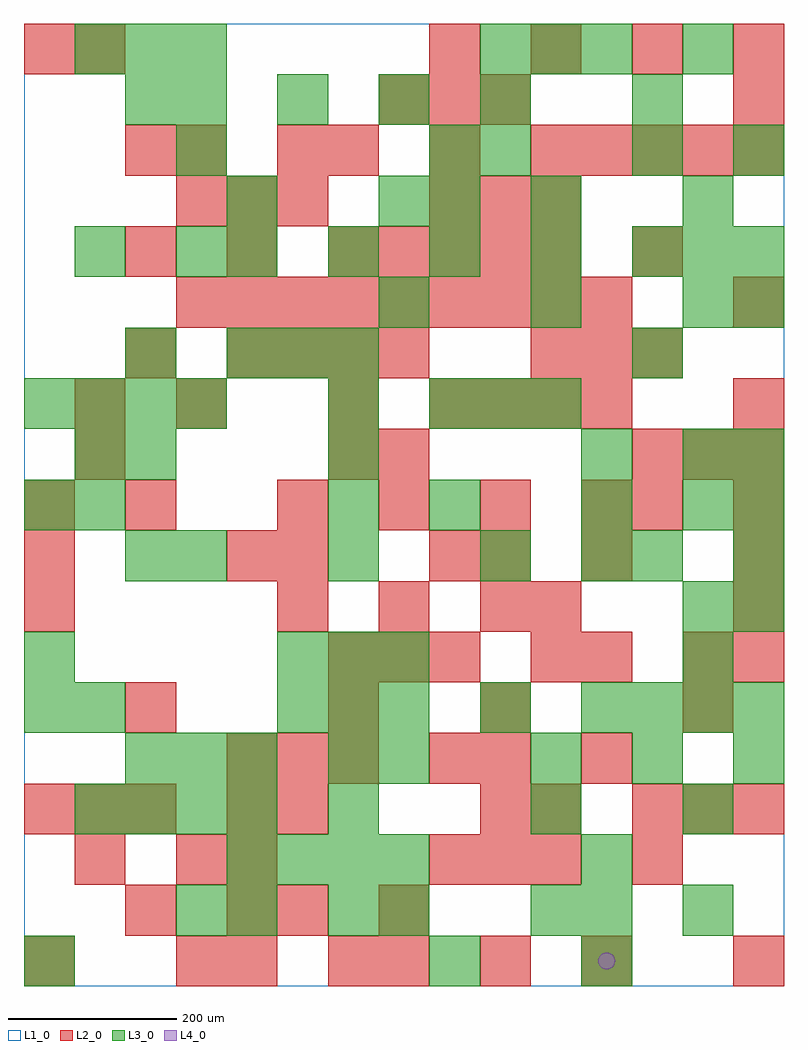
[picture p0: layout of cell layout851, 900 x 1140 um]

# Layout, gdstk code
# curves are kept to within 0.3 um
import gdstk
lib = gdstk.Library(unit=1e-6, precision=1e-09)
def R(c, l, rs):  # rectangles x0, y0, x1, y1
    for r in rs: c.add(gdstk.rectangle(r[:2], r[2:], *l))
def A(c, l, x, y, w, h, nx, ny, dx, dy):  # array of equal rectangles
    R(c, l, [(x+i*dx, y+j*dy, x+i*dx+w, y+j*dy+h) for i in range(nx) for j in range(ny)])
def P(c, l, *ps):  # polygons
    for p in ps: c.add(gdstk.Polygon(p, *l))
L1_0 = (1, 0)
L2_0 = (2, 0)
L3_0 = (3, 0)
L4_0 = (4, 0)

layout851 = lib.new_cell('layout851')
R(layout851, L1_0, [(0,0,900,1140)])
A(layout851, L2_0, 240, 0, 60, 60, 1, 4, 0, 60)
A(layout851, L2_0, 360, 0, 60, 60, 1, 3, 0, 300)
A(layout851, L2_0, 420, 0, 60, 60, 3, 1, 120, 0)
A(layout851, L2_0, 120, 60, 60, 60, 1, 3, 0, 240)
A(layout851, L2_0, 480, 120, 60, 60, 3, 2, 60, 780)
A(layout851, L2_0, 0, 180, 60, 60, 3, 1, 60, 0)
A(layout851, L2_0, 540, 180, 60, 60, 1, 3, 0, 60)
A(layout851, L2_0, 720, 180, 60, 60, 3, 2, 60, 420)
A(layout851, L2_0, 240, 240, 60, 60, 3, 1, 60, 0)
A(layout851, L2_0, 660, 240, 60, 60, 1, 3, 0, 120)
A(layout851, L2_0, 360, 360, 60, 60, 3, 1, 60, 0)
A(layout851, L2_0, 840, 360, 60, 60, 1, 4, 0, 60)
A(layout851, L2_0, 0, 420, 60, 60, 1, 3, 0, 60)
A(layout851, L2_0, 300, 420, 60, 60, 3, 1, 120, 0)
A(layout851, L2_0, 300, 540, 60, 60, 4, 1, 120, 0)
A(layout851, L2_0, 480, 660, 60, 60, 4, 1, 60, 0)
A(layout851, L2_0, 240, 720, 60, 60, 4, 1, 60, 0)
A(layout851, L2_0, 600, 720, 60, 60, 3, 1, 60, 0)
A(layout851, L2_0, 180, 780, 60, 60, 9, 1, 60, 0)
A(layout851, L2_0, 120, 840, 60, 60, 3, 1, 120, 0)
A(layout851, L2_0, 420, 840, 60, 60, 4, 1, 60, 0)
A(layout851, L2_0, 180, 900, 60, 60, 3, 1, 60, 0)
A(layout851, L2_0, 360, 960, 60, 60, 3, 1, 120, 0)
A(layout851, L2_0, 660, 960, 60, 60, 4, 1, 60, 0)
A(layout851, L2_0, 420, 1020, 60, 60, 3, 1, 60, 0)
A(layout851, L2_0, 480, 1080, 60, 60, 4, 1, 120, 0)
R(layout851, L2_0, [(0,0,60,60), (180,0,240,60), (840,0,900,60), (300,60,360,120), (420,60,480,120), (60,120,120,180), (180,120,240,180), (720,120,780,180), (300,180,360,240), (600,180,660,240), (480,240,540,300), (780,300,840,360), (600,360,660,420), (780,360,840,420), (600,420,660,480), (240,480,300,540), (300,480,360,540), (480,480,540,540), (540,480,600,540), (720,540,780,600), (60,600,120,660), (420,600,480,660), (60,660,120,720), (180,660,240,720), (360,660,420,720), (840,660,900,720), (120,720,180,780), (840,780,900,840), (720,840,780,900), (120,960,180,1020), (180,960,240,1020), (300,960,360,1020), (840,1020,900,1080), (0,1080,60,1140), (60,1080,120,1140)])
A(layout851, L3_0, 660, 0, 60, 60, 1, 3, 0, 60)
A(layout851, L3_0, 240, 120, 60, 60, 4, 1, 60, 0)
A(layout851, L3_0, 60, 180, 60, 60, 4, 1, 60, 0)
A(layout851, L3_0, 120, 240, 60, 60, 3, 1, 60, 0)
A(layout851, L3_0, 600, 240, 60, 60, 3, 1, 120, 0)
A(layout851, L3_0, 300, 300, 60, 60, 3, 2, 60, 60)
A(layout851, L3_0, 660, 300, 60, 60, 4, 1, 60, 0)
A(layout851, L3_0, 840, 420, 60, 60, 1, 4, 0, 60)
A(layout851, L3_0, 120, 480, 60, 60, 1, 3, 0, 120)
A(layout851, L3_0, 180, 480, 60, 60, 3, 1, 180, 0)
A(layout851, L3_0, 660, 480, 60, 60, 1, 3, 0, 60)
A(layout851, L3_0, 720, 480, 60, 60, 1, 3, 0, 240)
A(layout851, L3_0, 360, 540, 60, 60, 1, 3, 0, 60)
A(layout851, L3_0, 0, 660, 60, 60, 4, 1, 60, 0)
A(layout851, L3_0, 480, 660, 60, 60, 3, 1, 60, 0)
A(layout851, L3_0, 240, 720, 60, 60, 3, 1, 60, 0)
A(layout851, L3_0, 420, 780, 60, 60, 3, 1, 180, 0)
A(layout851, L3_0, 240, 840, 60, 60, 5, 1, 120, 0)
A(layout851, L3_0, 180, 1020, 60, 60, 4, 1, 120, 0)
A(layout851, L3_0, 60, 1080, 60, 60, 3, 1, 60, 0)
A(layout851, L3_0, 540, 1080, 60, 60, 3, 1, 60, 0)
R(layout851, L3_0, [(0,0,60,60), (480,0,540,60), (180,60,240,120), (240,60,300,120), (360,60,420,120), (420,60,480,120), (600,60,660,120), (780,60,840,120), (360,180,420,240), (600,180,660,240), (780,180,840,240), (360,240,420,300), (420,240,480,300), (0,300,60,360), (60,300,120,360), (540,300,600,360), (0,360,60,420), (780,360,840,420), (780,420,840,480), (0,540,60,600), (60,540,120,600), (480,540,540,600), (780,540,840,600), (60,600,120,660), (780,600,840,660), (840,780,900,840), (60,840,120,900), (180,840,240,900), (780,840,840,900), (840,840,900,900), (240,900,300,960), (420,900,480,960), (480,900,540,960), (600,900,660,960), (780,900,840,960), (180,960,240,1020), (480,960,540,1020), (540,960,600,1020), (840,960,900,1020), (120,1020,180,1080), (720,1020,780,1080), (780,1080,840,1140)])
P(layout851, L4_0, [(700,30),(699.239,33.827),(697.071,37.071),(693.827,39.239),(690,40),(686.173,39.239),(682.929,37.071),(680.761,33.827),(680,30),(680.761,26.173),(682.929,22.929),(686.173,20.761),(690,20),(693.827,20.761),(697.071,22.929),(699.239,26.173)])

lib.write_gds('layout851.gds')
